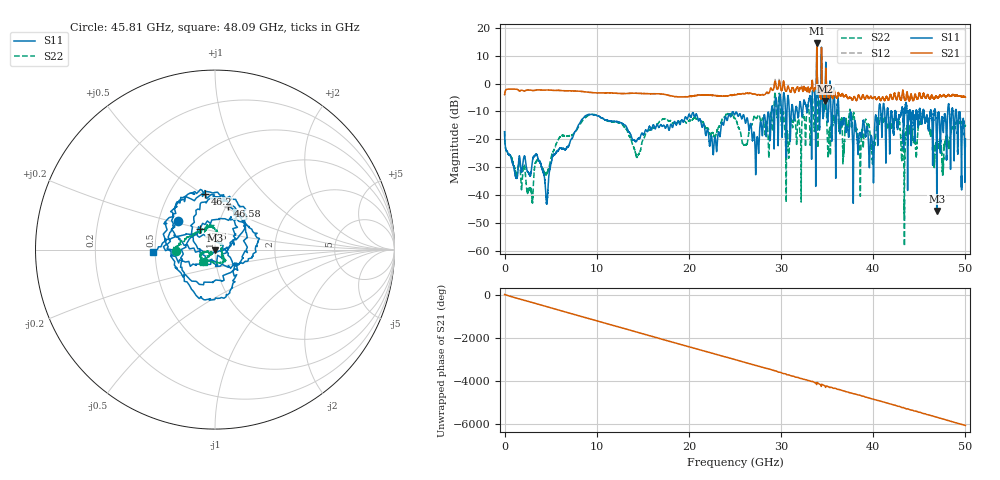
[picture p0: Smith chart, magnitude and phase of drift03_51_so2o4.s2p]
!Created with skrf (http://scikit-rf.org).
# Hz S RI R 50.0
!freq ReS11 ImS11 ReS21 ImS21 ReS12 ImS12 ReS22 ImS22
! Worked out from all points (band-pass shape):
!   10001 points, 300 kHz to 50 GHz, reference 50 ohm
!   highest |S21| = 14.46 dB at 33.88 GHz (marker M1); lowest = -6.2 dB at 34.79 GHz (marker M2)
!   |S21| within 3 dB of the highest: 33.86939 GHz to 33.88845 GHz (19.06 MHz wide, 0.0563 % of centre); 34.37706 GHz to 34.38947 GHz (12.41 MHz wide, 0.0361 % of centre)
!   lowest |S11| = -45.7 dB at 46.89 GHz (marker M3), VSWR 1.01, Z = 50.3 - j0.448 ohm
!   |S11| at or under -10 dB: start of sweep to 28.94 GHz; 36.27 GHz to 40.6 GHz (4.338 GHz wide, 11.3 % of centre); 46.74 GHz to 48.08 GHz (1.34 GHz wide, 2.83 % of centre) (the widest 3 of 61)
!   |S22| runs from -58.3 to 11.3 dB; largest |S21 - S12| = 0.81
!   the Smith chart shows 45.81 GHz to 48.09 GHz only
!   S11 on the Smith chart (normalised r, x): 45.81 GHz: 0.63, +0.22; 46.2 GHz: 0.74, +0.52; 46.58 GHz: 1.01, +0.53; 47.6 GHz: 0.82, +0.20; 48.09 GHz: 0.49, -0.01
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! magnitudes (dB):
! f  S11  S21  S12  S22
! 300 kHz  -17.3  -4.0  -4.0  -17.0
! 2.82 GHz  -32.7  -2.4  -2.4  -38.0
! 4.565 GHz  -42.6  -2.3  -2.3  -32.3
! 8.335 GHz  -13.1  -2.8  -2.8  -13.9
! 14.44 GHz  -19.9  -3.5  -3.5  -26.1
! 16.67 GHz  -15.4  -3.7  -3.7  -14.3
! 25 GHz  -11.0  -4.0  -4.0  -12.5
! 27.39 GHz  -19.4  -4.1  -4.1  -12.4
! 29.6 GHz  -10.4  -2.0  -2.1  -11.7
! 30.7 GHz  -5.5  -1.3  -1.4  -17.1
! 33.34 GHz  -13.4  -0.4  -0.5  -7.0
! 33.88 GHz  15.4  14.5  14.1  11.0
! 34.79 GHz  -3.1  -6.2  -4.9  -8.6
! 39.81 GHz  -18.9  -4.9  -4.8  -23.1
! 41.67 GHz  -12.3  -5.9  -5.9  -15.0
! 45.81 GHz  -11.8  -4.7  -4.7  -13.3
! 46.2 GHz  -10.0  -5.4  -5.4  -17.7
! 46.58 GHz  -11.9  -5.3  -5.3  -28.8
! 46.89 GHz  -45.7  -4.9  -4.9  -22.2
! 47.6 GHz  -16.9  -4.2  -4.2  -32.5
! 48.09 GHz  -9.2  -4.3  -4.2  -20.9
! 50 GHz  -19.8  -4.9  -4.9  -15.1
